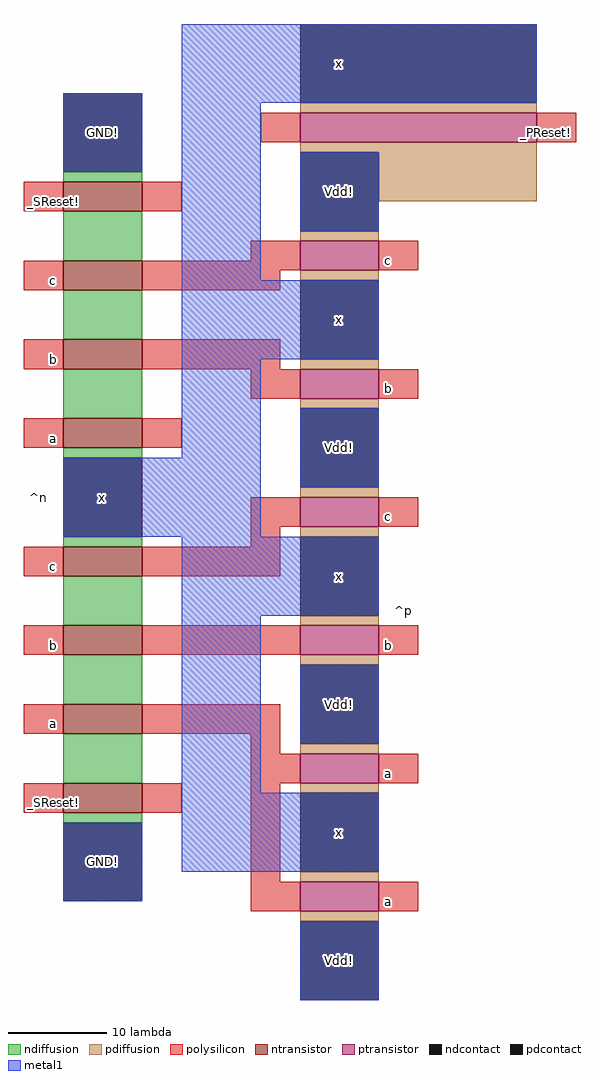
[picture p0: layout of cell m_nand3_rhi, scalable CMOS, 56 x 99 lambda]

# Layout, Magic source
magic
tech scmos
<< ndiffusion >>
rect 62 77 70 78
rect 62 69 70 74
rect 62 61 70 66
rect 62 53 70 58
rect 62 49 70 50
rect 62 40 70 41
rect 62 32 70 37
rect 62 24 70 29
rect 62 16 70 21
rect 62 12 70 13
<< pdiffusion >>
rect 86 84 110 85
rect 86 80 110 81
rect 94 75 110 80
rect 86 71 94 72
rect 86 67 94 68
rect 86 58 94 59
rect 86 54 94 55
rect 86 45 94 46
rect 86 41 94 42
rect 86 32 94 33
rect 86 28 94 29
rect 86 19 94 20
rect 86 15 94 16
rect 86 6 94 7
rect 86 2 94 3
<< ntransistor >>
rect 62 74 70 77
rect 62 66 70 69
rect 62 58 70 61
rect 62 50 70 53
rect 62 37 70 40
rect 62 29 70 32
rect 62 21 70 24
rect 62 13 70 16
<< ptransistor >>
rect 86 81 110 84
rect 86 68 94 71
rect 86 55 94 58
rect 86 42 94 45
rect 86 29 94 32
rect 86 16 94 19
rect 86 3 94 6
<< polysilicon >>
rect 82 81 86 84
rect 110 81 114 84
rect 58 74 62 77
rect 70 74 74 77
rect 81 69 86 71
rect 58 66 62 69
rect 70 68 86 69
rect 94 68 98 71
rect 70 66 84 68
rect 58 58 62 61
rect 70 58 84 61
rect 81 55 86 58
rect 94 55 98 58
rect 58 50 62 53
rect 70 50 74 53
rect 81 42 86 45
rect 94 42 98 45
rect 81 40 84 42
rect 58 37 62 40
rect 70 37 84 40
rect 58 29 62 32
rect 70 29 86 32
rect 94 29 98 32
rect 58 21 62 24
rect 70 21 84 24
rect 81 19 84 21
rect 81 16 86 19
rect 94 16 98 19
rect 58 13 62 16
rect 70 13 74 16
rect 81 6 84 16
rect 81 3 86 6
rect 94 3 98 6
<< ndcontact >>
rect 62 78 70 86
rect 62 41 70 49
rect 62 4 70 12
<< pdcontact >>
rect 86 85 110 93
rect 86 72 94 80
rect 86 59 94 67
rect 86 46 94 54
rect 86 33 94 41
rect 86 20 94 28
rect 86 7 94 15
rect 86 -6 94 2
<< metal1 >>
rect 62 78 70 86
rect 74 85 110 93
rect 74 67 82 85
rect 86 72 94 80
rect 74 59 94 67
rect 74 49 82 59
rect 62 41 82 49
rect 86 46 94 54
rect 74 33 94 41
rect 74 15 82 33
rect 86 20 94 28
rect 62 4 70 12
rect 74 7 94 15
rect 86 -6 94 2
<< labels >>
rlabel metal1 90 -2 90 -2 1 Vdd!
rlabel metal1 90 76 90 76 5 Vdd!
rlabel metal1 90 63 90 63 1 x
rlabel metal1 90 50 90 50 5 Vdd!
rlabel metal1 90 37 90 37 5 x
rlabel metal1 90 24 90 24 1 Vdd!
rlabel metal1 90 11 90 11 1 x
rlabel metal1 90 89 90 89 5 x
rlabel polysilicon 61 51 61 51 3 a
rlabel metal1 66 45 66 45 5 x
rlabel polysilicon 61 22 61 22 3 a
rlabel metal1 66 82 66 82 5 GND!
rlabel metal1 66 8 66 8 1 GND!
rlabel polysilicon 61 75 61 75 1 _SReset!
rlabel polysilicon 61 14 61 14 1 _SReset!
rlabel polysilicon 95 56 95 56 3 b
rlabel polysilicon 95 43 95 43 3 c
rlabel polysilicon 95 30 95 30 3 b
rlabel polysilicon 95 69 95 69 3 c
rlabel polysilicon 61 30 61 30 1 b
rlabel polysilicon 61 59 61 59 1 b
rlabel polysilicon 61 67 61 67 1 c
rlabel polysilicon 61 38 61 38 1 c
rlabel polysilicon 95 17 95 17 1 a
rlabel polysilicon 95 4 95 4 1 a
rlabel space 57 4 62 86 7 ^n
rlabel space 94 -6 99 73 3 ^p
rlabel polysilicon 111 82 111 82 7 _PReset!
<< end >>
